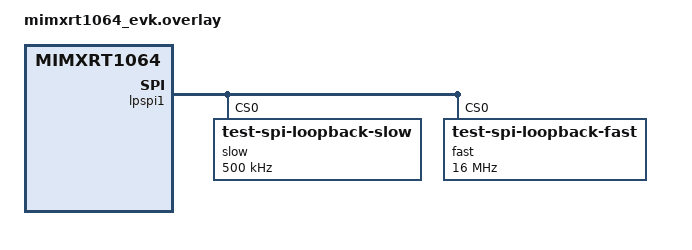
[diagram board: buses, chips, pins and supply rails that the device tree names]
/*
 * Copyright (c) 2022 Kumar Gala <galak@kernel.org>
 *
 * SPDX-License-Identifier: Apache-2.0
 */

&lpspi1 {

	transfer-delay = <100>;
	pcs-sck-delay = <100>;
	sck-pcs-delay = <100>;

	slow@0 {
		compatible = "test-spi-loopback-slow";
		reg = <0>;
		spi-max-frequency = <500000>;
	};

	fast@0 {
		compatible = "test-spi-loopback-fast";
		reg = <0>;
		spi-max-frequency = <16000000>;
	};
};
